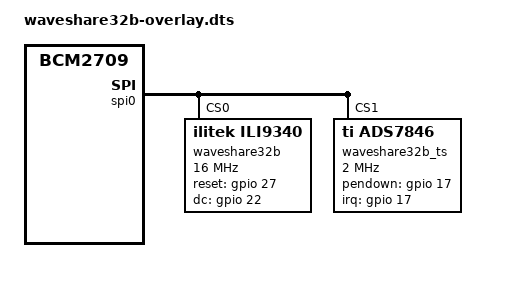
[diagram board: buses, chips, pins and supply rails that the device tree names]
/*
 * Device Tree overlay for waveshare 3.2inch TFT LCD
 *
 */

/dts-v1/;
/plugin/;

/ {
	compatible = "brcm,bcm2835", "brcm,bcm2708", "brcm,bcm2709";

	fragment@0 {
		target = <&spi0>;
		__overlay__ {
			status = "okay";

			spidev@0{
				status = "disabled";
			};

			spidev@1{
				status = "disabled";
			};
		};
	};

	fragment@1 {
		target = <&gpio>;
		__overlay__ {
			waveshare32b_pins: waveshare32b_pins {
				brcm,pins = <17 27 22>;
				brcm,function = <0 0 0>; /* in in in */
			};
		};
	};

	fragment@2 {
		target = <&spi0>;
		__overlay__ {
			/* needed to avoid dtc warning */
			#address-cells = <1>;
			#size-cells = <0>;

			waveshare32b: waveshare32b@0{
				compatible = "ilitek,ili9340";
				reg = <0>;
				pinctrl-names = "default";
				pinctrl-0 = <&waveshare32b_pins>;

				spi-max-frequency = <16000000>;
				rotate = <90>;
				fps = <25>;
				bgr;
				buswidth = <8>;
				reset-gpios = <&gpio 27 0>;
				dc-gpios = <&gpio 22 0>;
				debug = <0>;
			};

			waveshare32b_ts: waveshare32b-ts@1 {
				compatible = "ti,ads7846";
				reg = <1>;

				spi-max-frequency = <2000000>;
				interrupts = <17 2>; /* high-to-low edge triggered */
				interrupt-parent = <&gpio>;
				pendown-gpio = <&gpio 17 0>;
				ti,x-plate-ohms = /bits/ 16 <60>;
				ti,pressure-max = /bits/ 16 <255>;
			};
		};
	};

	__overrides__ {
		speed =   <&waveshare32b>,"spi-max-frequency:0";
		rotate =  <&waveshare32b>,"rotate:0";
		fps =     <&waveshare32b>,"fps:0";
		debug =   <&waveshare32b>,"debug:0";
		swapxy =  <&waveshare32b_ts>,"swap-xy?";
	};
};
